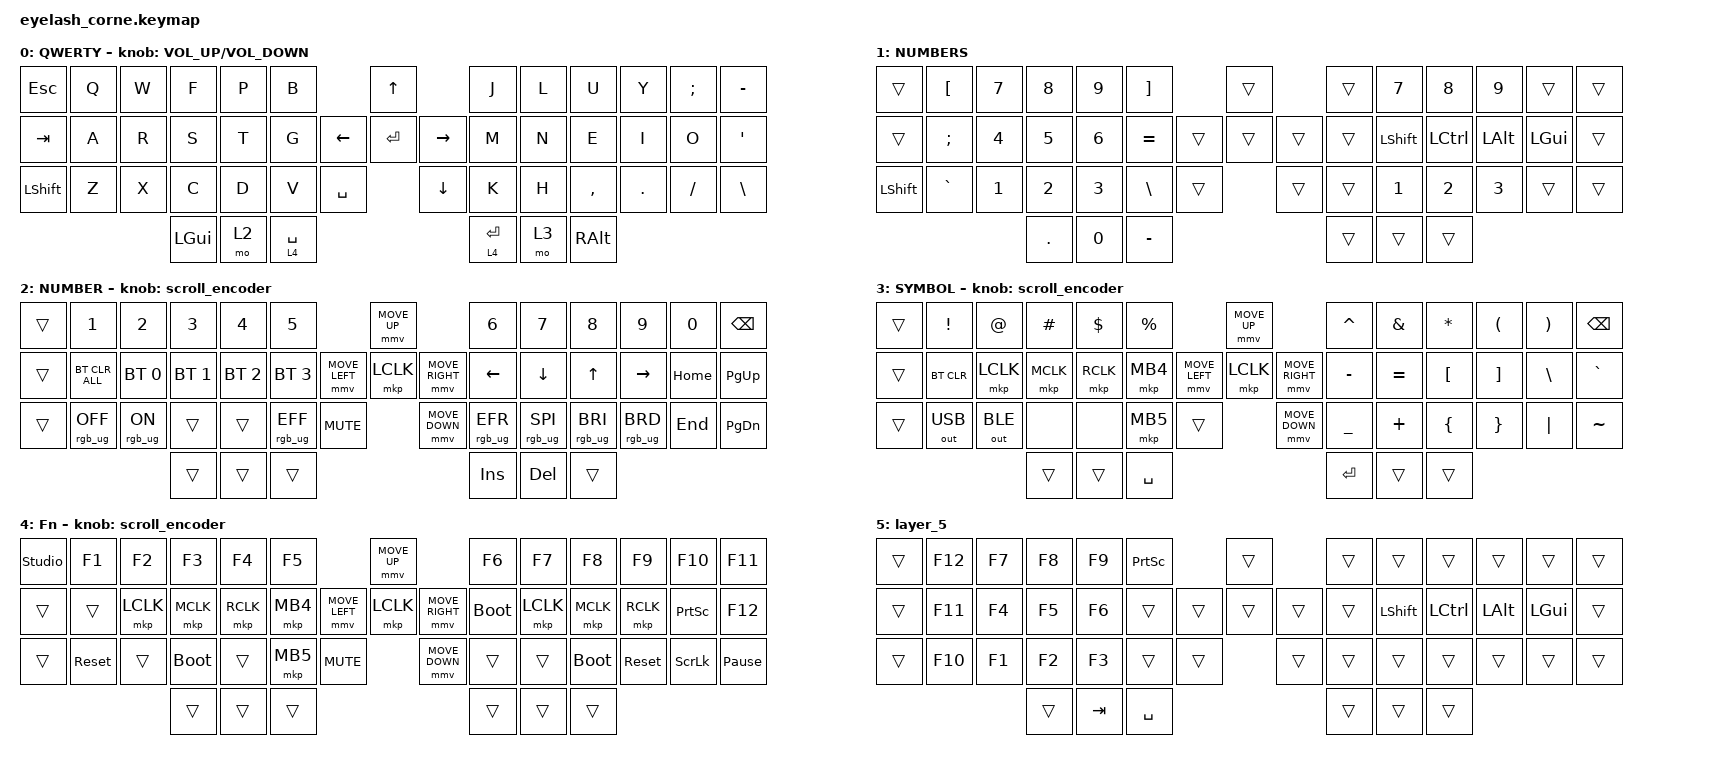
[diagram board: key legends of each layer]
#define ZMK_POINTING_DEFAULT_MOVE_VAL 1200  // 600
#define ZMK_POINTING_DEFAULT_SCRL_VAL 25   // 10

#include <input/processors.dtsi>
#include <zephyr/dt-bindings/input/input-event-codes.h>
#include <behaviors.dtsi>
#include <dt-bindings/zmk/bt.h>
#include <dt-bindings/zmk/keys.h>
#include <dt-bindings/zmk/outputs.h>
#include <dt-bindings/zmk/pointing.h>
#include <dt-bindings/zmk/rgb.h>

&mmv_input_listener { input-processors = <&zip_xy_scaler 2 1>; };

&msc_input_listener { input-processors = <&zip_scroll_scaler 2 1>; };

&msc {
    acceleration-exponent = <1>;      // 0
    time-to-max-speed-ms = <100>;       // 300
    delay-ms = <0>;                   // 0
};

&mmv {
    time-to-max-speed-ms = <500>;
    acceleration-exponent = <1>;
    trigger-period-ms = <16>;
};

/ {
    behaviors {
        td0: td0 {
            compatible = "zmk,behavior-tap-dance";
            display-name = "Shift/Caps Lock Tap Dance";
            #binding-cells = <0>;
            bindings = <&kp LEFT_SHIFT>, <&kp CAPS>;
        };
    };

    rgb_encoder: rgb_encoder {
        compatible = "zmk,behavior-sensor-rotate";
        #sensor-binding-cells = <0>;
        bindings = <&rgb_ug RGB_BRI>, <&rgb_ug RGB_BRD>;
    };

    scroll_encoder: scroll_encoder {
        compatible = "zmk,behavior-sensor-rotate";
        #sensor-binding-cells = <0>;
        bindings = <&msc SCRL_DOWN>, <&msc SCRL_UP>;

        tap-ms = <100>;
    };

    keymap {
        compatible = "zmk,keymap";

        default_layer {
            display-name = "QWERTY";
            bindings = <
&kp ESC    &kp Q  &kp W  &kp F     &kp P  &kp B                               &kp UP                &kp J        &kp L  &kp U      &kp Y    &kp SEMI  &kp MINUS
&kp TAB    &kp A  &kp R  &kp S     &kp T  &kp G                     &kp LEFT  &kp ENTER  &kp RIGHT  &kp M        &kp N  &kp E      &kp I    &kp O     &kp APOS
&kp LSHFT  &kp Z  &kp X  &kp C     &kp D  &kp V        &kp SPACE              &kp DOWN              &kp K        &kp H  &kp COMMA  &kp DOT  &kp FSLH  &kp BSLH
                         &kp LGUI  &mo 2  &lt 4 SPACE                                               &lt 4 ENTER  &mo 3  &kp RALT
            >;

            sensor-bindings = <&inc_dec_kp C_VOLUME_UP C_VOLUME_DOWN>;
        };

        lower {
            bindings = <
&trans     &kp LBKT   &kp N7  &kp N8   &kp N9  &kp RBKT                     &trans          &trans  &kp N7     &kp N8     &kp N9    &trans    &trans
&trans     &kp SEMI   &kp N4  &kp N5   &kp N6  &kp EQUAL            &trans  &trans  &trans  &trans  &kp LSHFT  &kp LCTRL  &kp LALT  &kp LGUI  &trans
&kp LSHFT  &kp GRAVE  &kp N1  &kp N2   &kp N3  &kp BSLH   &trans            &trans          &trans  &kp N1     &kp N2     &kp N3    &trans    &trans
                              &kp DOT  &kp N0  &kp MINUS                                    &trans  &trans     &trans
            >;

            label = "NUMBERS";
        };

        lower_layer {
            display-name = "NUMBER";
            bindings = <
&trans  &kp N1           &kp N2          &kp N3        &kp N4        &kp N5                                         &mmv MOVE_UP                     &kp N6           &kp N7           &kp N8           &kp N9           &kp N0    &kp BSPC
&trans  &bt BT_CLR_ALL   &bt BT_SEL 0    &bt BT_SEL 1  &bt BT_SEL 2  &bt BT_SEL 3                   &mmv MOVE_LEFT  &mkp LCLK       &mmv MOVE_RIGHT  &kp LEFT         &kp DOWN         &kp UP           &kp RIGHT        &kp HOME  &kp PG_UP
&trans  &rgb_ug RGB_OFF  &rgb_ug RGB_ON  &trans        &trans        &rgb_ug RGB_EFF  &kp C_MUTE                    &mmv MOVE_DOWN                   &rgb_ug RGB_EFR  &rgb_ug RGB_SPI  &rgb_ug RGB_BRI  &rgb_ug RGB_BRD  &kp END   &kp PG_DN
                                         &trans        &trans        &trans                                                                          &kp INS          &kp DEL          &trans
            >;

            sensor-bindings = <&scroll_encoder>;
        };

        raise_layer {
            display-name = "SYMBOL";
            bindings = <
&trans  &kp EXCL      &kp AT        &kp HASH   &kp DLLR   &kp PRCNT                            &mmv MOVE_UP                     &kp CARET  &kp AMPS   &kp ASTRK  &kp LPAR  &kp RPAR  &kp BSPC
&trans  &bt BT_CLR    &mkp LCLK     &mkp MCLK  &mkp RCLK  &mkp MB4             &mmv MOVE_LEFT  &mkp LCLK       &mmv MOVE_RIGHT  &kp MINUS  &kp EQUAL  &kp LBKT   &kp RBKT  &kp BSLH  &kp GRAVE
&trans  &out OUT_USB  &out OUT_BLE  &none      &none      &mkp MB5   &trans                    &mmv MOVE_DOWN                   &kp UNDER  &kp PLUS   &kp LBRC   &kp RBRC  &kp PIPE  &kp TILDE
                                    &trans     &trans     &kp SPACE                                                             &kp RET    &trans     &trans
            >;

            sensor-bindings = <&scroll_encoder>;
        };

        layer_3 {
            display-name = "Fn";
            bindings = <
&studio_unlock  &kp F1      &kp F2     &kp F3       &kp F4     &kp F5                                  &mmv MOVE_UP                     &kp F6       &kp F7     &kp F8       &kp F9      &kp F10          &kp F11
&trans          &trans      &mkp LCLK  &mkp MCLK    &mkp RCLK  &mkp MB4                &mmv MOVE_LEFT  &mkp LCLK       &mmv MOVE_RIGHT  &bootloader  &mkp LCLK  &mkp MCLK    &mkp RCLK   &kp PRINTSCREEN  &kp F12
&trans          &sys_reset  &trans     &bootloader  &trans     &mkp MB5  &kp C_MUTE                    &mmv MOVE_DOWN                   &trans       &trans     &bootloader  &sys_reset  &kp SCROLLLOCK   &kp PAUSE_BREAK
                                       &trans       &trans     &trans                                                                   &trans       &trans     &trans
            >;

            sensor-bindings = <&scroll_encoder>;
        };

        layer_5 {
            bindings = <
&trans  &kp F12  &kp F7  &kp F8  &kp F9   &kp PRINTSCREEN                    &trans          &trans  &trans     &trans     &trans    &trans    &trans
&trans  &kp F11  &kp F4  &kp F5  &kp F6   &trans                     &trans  &trans  &trans  &trans  &kp LSHFT  &kp LCTRL  &kp LALT  &kp LGUI  &trans
&trans  &kp F10  &kp F1  &kp F2  &kp F3   &trans           &trans            &trans          &trans  &trans     &trans     &trans    &trans    &trans
                         &trans  &kp TAB  &kp SPACE                                          &trans  &trans     &trans
            >;
        };
    };
};
